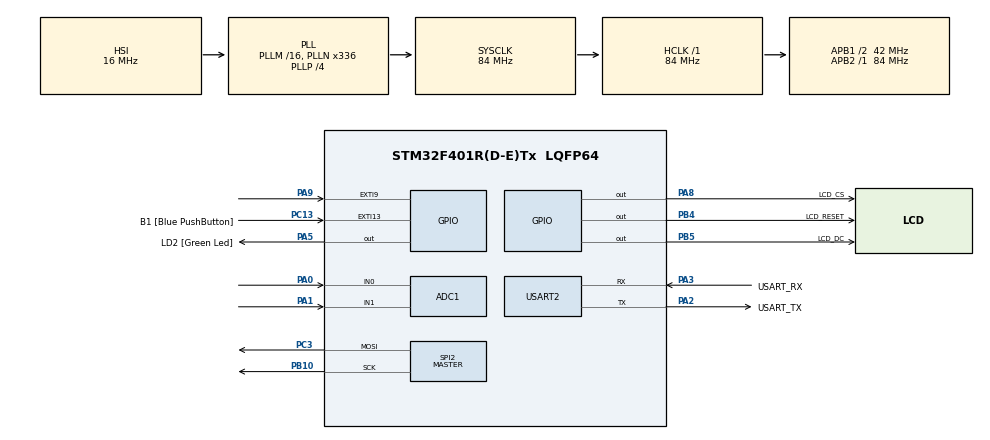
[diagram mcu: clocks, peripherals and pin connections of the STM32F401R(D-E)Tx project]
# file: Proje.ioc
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ADC1.Channel-2\#ChannelRegularConversion=ADC_CHANNEL_0
ADC1.Channel-3\#ChannelRegularConversion=ADC_CHANNEL_1
ADC1.ContinuousConvMode=ENABLE
ADC1.DMAContinuousRequests=ENABLE
ADC1.NbrOfConversion=2
ADC1.NbrOfConversionFlag=1
ADC1.Rank-2\#ChannelRegularConversion=1
ADC1.Rank-3\#ChannelRegularConversion=2
ADC1.SamplingTime-2\#ChannelRegularConversion=ADC_SAMPLETIME_144CYCLES
ADC1.SamplingTime-3\#ChannelRegularConversion=ADC_SAMPLETIME_144CYCLES
ADC1.ScanConvMode=ENABLE
ADC1.master=1
Dma.ADC1.0.Direction=DMA_PERIPH_TO_MEMORY
Dma.ADC1.0.FIFOMode=DMA_FIFOMODE_DISABLE
Dma.ADC1.0.Instance=DMA2_Stream0
Dma.ADC1.0.MemDataAlignment=DMA_MDATAALIGN_WORD
Dma.ADC1.0.MemInc=DMA_MINC_ENABLE
Dma.ADC1.0.Mode=DMA_CIRCULAR
Dma.ADC1.0.PeriphDataAlignment=DMA_PDATAALIGN_WORD
Dma.ADC1.0.PeriphInc=DMA_PINC_DISABLE
Dma.ADC1.0.Priority=DMA_PRIORITY_MEDIUM
Dma.Request0=ADC1
Mcu.Family=STM32F4
Mcu.Name=STM32F401R(D-E)Tx
Mcu.Package=LQFP64
NVIC.DMA2_Stream0_IRQn=true\:0\:0\:false\:false\:true\:false\:true
NVIC.EXTI15_10_IRQn=true\:0\:0\:false\:false\:true\:true\:true
NVIC.PriorityGroup=NVIC_PRIORITYGROUP_0
PA0-WKUP.Signal=ADCx_IN0
PA1.Signal=ADCx_IN1
PA13.GPIO_Label=TMS
PA13.Mode=Serial_Wire
PA13.Signal=SYS_JTMS-SWDIO
PA14.GPIO_Label=TCK
PA14.Mode=Serial_Wire
PA14.Signal=SYS_JTCK-SWCLK
PA2.GPIO_Label=USART_TX
PA2.GPIO_Mode=GPIO_MODE_AF_PP
PA2.GPIO_PuPd=GPIO_NOPULL
PA2.GPIO_Speed=GPIO_SPEED_FREQ_LOW
PA2.Mode=Asynchronous
PA2.Signal=USART2_TX
PA3.GPIO_Label=USART_RX
PA3.GPIO_Mode=GPIO_MODE_AF_PP
PA3.GPIO_PuPd=GPIO_NOPULL
PA3.GPIO_Speed=GPIO_SPEED_FREQ_LOW
PA3.Mode=Asynchronous
PA3.Signal=USART2_RX
PA5.GPIO_Label=LD2 [Green Led]
PA5.GPIO_Mode=GPIO_MODE_OUTPUT_PP
PA5.GPIO_PuPd=GPIO_NOPULL
PA5.GPIO_Speed=GPIO_SPEED_FREQ_LOW
PA5.Signal=GPIO_Output
PA8.GPIO_Label=LCD_CS
PA8.Signal=GPIO_Output
PA9.GPIO_PuPd=GPIO_PULLDOWN
PA9.Signal=GPXTI9
PB10.Mode=TX_Only_Simplex_Unidirect_Master
PB10.Signal=SPI2_SCK
PB3.GPIO_Label=SWO
PB3.Signal=SYS_JTDO-SWO
PB4.GPIO_Label=LCD_RESET
PB4.Signal=GPIO_Output
PB5.GPIO_Label=LCD_DC
PB5.Signal=GPIO_Output
PC13-ANTI_TAMP.GPIO_Label=B1 [Blue PushButton]
PC13-ANTI_TAMP.GPIO_ModeDefaultEXTI=GPIO_MODE_IT_FALLING
PC13-ANTI_TAMP.GPIO_PuPd=GPIO_NOPULL
PC13-ANTI_TAMP.Signal=GPXTI13
PC14-OSC32_IN.Mode=LSE-External-Oscillator
PC14-OSC32_IN.Signal=RCC_OSC32_IN
PC15-OSC32_OUT.Mode=LSE-External-Oscillator
PC15-OSC32_OUT.Signal=RCC_OSC32_OUT
PC3.Mode=TX_Only_Simplex_Unidirect_Master
PC3.Signal=SPI2_MOSI
PH0\ -\ OSC_IN.Mode=HSE-External-Clock-Source
PH0\ -\ OSC_IN.Signal=RCC_OSC_IN
PH1\ -\ OSC_OUT.Mode=HSE-External-Clock-Source
PH1\ -\ OSC_OUT.Signal=RCC_OSC_OUT
ProjectManager.HeapSize=0x200
ProjectManager.StackSize=0x400
ProjectManager.TargetToolchain=SW4STM32
RCC.48MHZClocksFreq_Value=48000000
RCC.AHBFreq_Value=84000000
RCC.APB1CLKDivider=RCC_HCLK_DIV2
RCC.APB1Freq_Value=42000000
RCC.APB1TimFreq_Value=84000000
RCC.APB2Freq_Value=84000000
RCC.APB2TimFreq_Value=84000000
RCC.CortexFreq_Value=84000000
RCC.HCLKFreq_Value=84000000
RCC.HSE_VALUE=8000000
RCC.HSI_VALUE=16000000
RCC.PLLN=336
RCC.PLLP=RCC_PLLP_DIV4
RCC.PLLQ=7
RCC.SYSCLKFreq_VALUE=84000000
RCC.SYSCLKSource=RCC_SYSCLKSOURCE_PLLCLK
RCC.VCOOutputFreq_Value=336000000
SH.ADCx_IN0.0=ADC1_IN0,IN0
SH.ADCx_IN1.0=ADC1_IN1,IN1
SPI2.CLKPolarity=SPI_POLARITY_HIGH
SPI2.Direction=SPI_DIRECTION_2LINES
SPI2.Mode=SPI_MODE_MASTER
SPI2.VirtualType=VM_MASTER
USART2.VirtualMode=VM_ASYNC
board=NUCLEO-F401RE

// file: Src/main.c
/* USER CODE BEGIN Header */
/**
  ******************************************************************************
  * @file           : main.c
  * @brief          : Main program body
  ******************************************************************************
  * @attention
  *
  * <h2><center>&copy; Copyright (c) 2020 STMicroelectronics.
  * All rights reserved.</center></h2>
  *
  * This software component is licensed by ST under BSD 3-Clause license,
  * the "License"; You may not use this file except in compliance with the
  * License. You may obtain a copy of the License at:
  *                        opensource.org/licenses/BSD-3-Clause
  *
  ******************************************************************************
  */
/* USER CODE END Header */

#include "main.h"

/* USER CODE BEGIN Includes */
#include <stdio.h>
#include <string.h>
#include <math.h>
#include "stdarg.h"
#include "stdlib.h"

#include "st7735.h"
#include "fonts.h"

#include "lvgl/lvgl.h"

#include "lv_examples/lv_apps/demo/demo.h"
/* USER CODE END Includes */

ADC_HandleTypeDef hadc1;
DMA_HandleTypeDef hdma_adc1;

SPI_HandleTypeDef hspi2;

UART_HandleTypeDef huart2;

void SystemClock_Config(void);
static void MX_GPIO_Init(void);
static void MX_DMA_Init(void);
static void MX_ADC1_Init(void);
static void MX_SPI2_Init(void);
static void MX_USART2_UART_Init(void);

int main(void)
{

  /* MCU Configuration--------------------------------------------------------*/

  /* Reset of all peripherals, Initializes the Flash interface and the Systick. */
  HAL_Init();

  /* Configure the system clock */
  SystemClock_Config();

  /* Initialize all configured peripherals */
  MX_GPIO_Init();
  MX_DMA_Init();
  MX_ADC1_Init();
  MX_SPI2_Init();
  MX_USART2_UART_Init();
  /* USER CODE BEGIN 2 */

  lv_init();
  tft_init();
  demo_create();
  /* USER CODE END 2 */

  /* Infinite loop */
  while (1)
  {

    /* USER CODE BEGIN 3 */
	    HAL_Delay(10);
	  	lv_task_handler();
		HAL_GPIO_TogglePin(LD2_GPIO_Port, LD2_Pin);
  }
  /* USER CODE END 3 */
}

void SystemClock_Config(void)
{
  RCC_OscInitTypeDef RCC_OscInitStruct = {0};
  RCC_ClkInitTypeDef RCC_ClkInitStruct = {0};

  /** Configure the main internal regulator output voltage
  */
  __HAL_RCC_PWR_CLK_ENABLE();
  __HAL_PWR_VOLTAGESCALING_CONFIG(PWR_REGULATOR_VOLTAGE_SCALE2);
  /** Initializes the CPU, AHB and APB busses clocks
  */
  RCC_OscInitStruct.OscillatorType = RCC_OSCILLATORTYPE_HSI;
  RCC_OscInitStruct.HSIState = RCC_HSI_ON;
  RCC_OscInitStruct.HSICalibrationValue = RCC_HSICALIBRATION_DEFAULT;
  RCC_OscInitStruct.PLL.PLLState = RCC_PLL_ON;
  RCC_OscInitStruct.PLL.PLLSource = RCC_PLLSOURCE_HSI;
  RCC_OscInitStruct.PLL.PLLM = 16;
  RCC_OscInitStruct.PLL.PLLN = 336;
  RCC_OscInitStruct.PLL.PLLP = RCC_PLLP_DIV4;
  RCC_OscInitStruct.PLL.PLLQ = 7;
  if (HAL_RCC_OscConfig(&RCC_OscInitStruct) != HAL_OK)
  {
    Error_Handler();
  }
  /** Initializes the CPU, AHB and APB busses clocks
  */
  RCC_ClkInitStruct.ClockType = RCC_CLOCKTYPE_HCLK|RCC_CLOCKTYPE_SYSCLK
                              |RCC_CLOCKTYPE_PCLK1|RCC_CLOCKTYPE_PCLK2;
  RCC_ClkInitStruct.SYSCLKSource = RCC_SYSCLKSOURCE_PLLCLK;
  RCC_ClkInitStruct.AHBCLKDivider = RCC_SYSCLK_DIV1;
  RCC_ClkInitStruct.APB1CLKDivider = RCC_HCLK_DIV2;
  RCC_ClkInitStruct.APB2CLKDivider = RCC_HCLK_DIV1;

  if (HAL_RCC_ClockConfig(&RCC_ClkInitStruct, FLASH_LATENCY_2) != HAL_OK)
  {
    Error_Handler();
  }
}

static void MX_ADC1_Init(void)
{

  ADC_ChannelConfTypeDef sConfig = {0};

  /** Configure the global features of the ADC (Clock, Resolution, Data Alignment and number of conversion)
  */
  hadc1.Instance = ADC1;
  hadc1.Init.ClockPrescaler = ADC_CLOCK_SYNC_PCLK_DIV4;
  hadc1.Init.Resolution = ADC_RESOLUTION_12B;
  hadc1.Init.ScanConvMode = ENABLE;
  hadc1.Init.ContinuousConvMode = ENABLE;
  hadc1.Init.DiscontinuousConvMode = DISABLE;
  hadc1.Init.ExternalTrigConvEdge = ADC_EXTERNALTRIGCONVEDGE_NONE;
  hadc1.Init.ExternalTrigConv = ADC_SOFTWARE_START;
  hadc1.Init.DataAlign = ADC_DATAALIGN_RIGHT;
  hadc1.Init.NbrOfConversion = 2;
  hadc1.Init.DMAContinuousRequests = ENABLE;
  hadc1.Init.EOCSelection = ADC_EOC_SINGLE_CONV;
  if (HAL_ADC_Init(&hadc1) != HAL_OK)
  {
    Error_Handler();
  }
  /** Configure for the selected ADC regular channel its corresponding rank in the sequencer and its sample time.
  */
  sConfig.Channel = ADC_CHANNEL_0;
  sConfig.Rank = 1;
  sConfig.SamplingTime = ADC_SAMPLETIME_144CYCLES;
  if (HAL_ADC_ConfigChannel(&hadc1, &sConfig) != HAL_OK)
  {
    Error_Handler();
  }
  /** Configure for the selected ADC regular channel its corresponding rank in the sequencer and its sample time.
  */
  sConfig.Channel = ADC_CHANNEL_1;
  sConfig.Rank = 2;
  if (HAL_ADC_ConfigChannel(&hadc1, &sConfig) != HAL_OK)
  {
    Error_Handler();
  }

}

static void MX_SPI2_Init(void)
{

  /* SPI2 parameter configuration*/
  hspi2.Instance = SPI2;
  hspi2.Init.Mode = SPI_MODE_MASTER;
  hspi2.Init.Direction = SPI_DIRECTION_2LINES;
  hspi2.Init.DataSize = SPI_DATASIZE_8BIT;
  hspi2.Init.CLKPolarity = SPI_POLARITY_HIGH;
  hspi2.Init.CLKPhase = SPI_PHASE_1EDGE;
  hspi2.Init.NSS = SPI_NSS_SOFT;
  hspi2.Init.BaudRatePrescaler = SPI_BAUDRATEPRESCALER_2;
  hspi2.Init.FirstBit = SPI_FIRSTBIT_MSB;
  hspi2.Init.TIMode = SPI_TIMODE_DISABLE;
  hspi2.Init.CRCCalculation = SPI_CRCCALCULATION_DISABLE;
  hspi2.Init.CRCPolynomial = 10;
  if (HAL_SPI_Init(&hspi2) != HAL_OK)
  {
    Error_Handler();
  }

}

static void MX_USART2_UART_Init(void)
{

  huart2.Instance = USART2;
  huart2.Init.BaudRate = 115200;
  huart2.Init.WordLength = UART_WORDLENGTH_8B;
  huart2.Init.StopBits = UART_STOPBITS_1;
  huart2.Init.Parity = UART_PARITY_NONE;
  huart2.Init.Mode = UART_MODE_TX_RX;
  huart2.Init.HwFlowCtl = UART_HWCONTROL_NONE;
  huart2.Init.OverSampling = UART_OVERSAMPLING_16;
  if (HAL_UART_Init(&huart2) != HAL_OK)
  {
    Error_Handler();
  }

}

static void MX_DMA_Init(void)
{

  /* DMA controller clock enable */
  __HAL_RCC_DMA2_CLK_ENABLE();

  /* DMA interrupt init */
  /* DMA2_Stream0_IRQn interrupt configuration */
  HAL_NVIC_SetPriority(DMA2_Stream0_IRQn, 0, 0);
  HAL_NVIC_EnableIRQ(DMA2_Stream0_IRQn);

}

static void MX_GPIO_Init(void)
{
  GPIO_InitTypeDef GPIO_InitStruct = {0};

  /* GPIO Ports Clock Enable */
  __HAL_RCC_GPIOC_CLK_ENABLE();
  __HAL_RCC_GPIOH_CLK_ENABLE();
  __HAL_RCC_GPIOA_CLK_ENABLE();
  __HAL_RCC_GPIOB_CLK_ENABLE();

  /*Configure GPIO pin Output Level */
  HAL_GPIO_WritePin(GPIOA, LD2_Pin|LCD_CS_Pin, GPIO_PIN_RESET);

  /*Configure GPIO pin Output Level */
  HAL_GPIO_WritePin(GPIOB, LCD_RESET_Pin|LCD_DC_Pin, GPIO_PIN_RESET);

  /*Configure GPIO pin : B1_Pin */
  GPIO_InitStruct.Pin = B1_Pin;
  GPIO_InitStruct.Mode = GPIO_MODE_IT_FALLING;
  GPIO_InitStruct.Pull = GPIO_NOPULL;
  HAL_GPIO_Init(B1_GPIO_Port, &GPIO_InitStruct);

  /*Configure GPIO pins : LD2_Pin LCD_CS_Pin */
  GPIO_InitStruct.Pin = LD2_Pin|LCD_CS_Pin;
  GPIO_InitStruct.Mode = GPIO_MODE_OUTPUT_PP;
  GPIO_InitStruct.Pull = GPIO_NOPULL;
  GPIO_InitStruct.Speed = GPIO_SPEED_FREQ_MEDIUM;
  HAL_GPIO_Init(GPIOA, &GPIO_InitStruct);

  /*Configure GPIO pin : PA9 */
  GPIO_InitStruct.Pin = GPIO_PIN_9;
  GPIO_InitStruct.Mode = GPIO_MODE_IT_RISING;
  GPIO_InitStruct.Pull = GPIO_PULLDOWN;
  HAL_GPIO_Init(GPIOA, &GPIO_InitStruct);

  /*Configure GPIO pins : LCD_RESET_Pin LCD_DC_Pin */
  GPIO_InitStruct.Pin = LCD_RESET_Pin|LCD_DC_Pin;
  GPIO_InitStruct.Mode = GPIO_MODE_OUTPUT_PP;
  GPIO_InitStruct.Pull = GPIO_NOPULL;
  GPIO_InitStruct.Speed = GPIO_SPEED_FREQ_MEDIUM;
  HAL_GPIO_Init(GPIOB, &GPIO_InitStruct);

  /* EXTI interrupt init*/
  HAL_NVIC_SetPriority(EXTI15_10_IRQn, 0, 0);
  HAL_NVIC_EnableIRQ(EXTI15_10_IRQn);

}

void Error_Handler(void)
{
}

/************************ (C) COPYRIGHT STMicroelectronics *****END OF FILE****/
